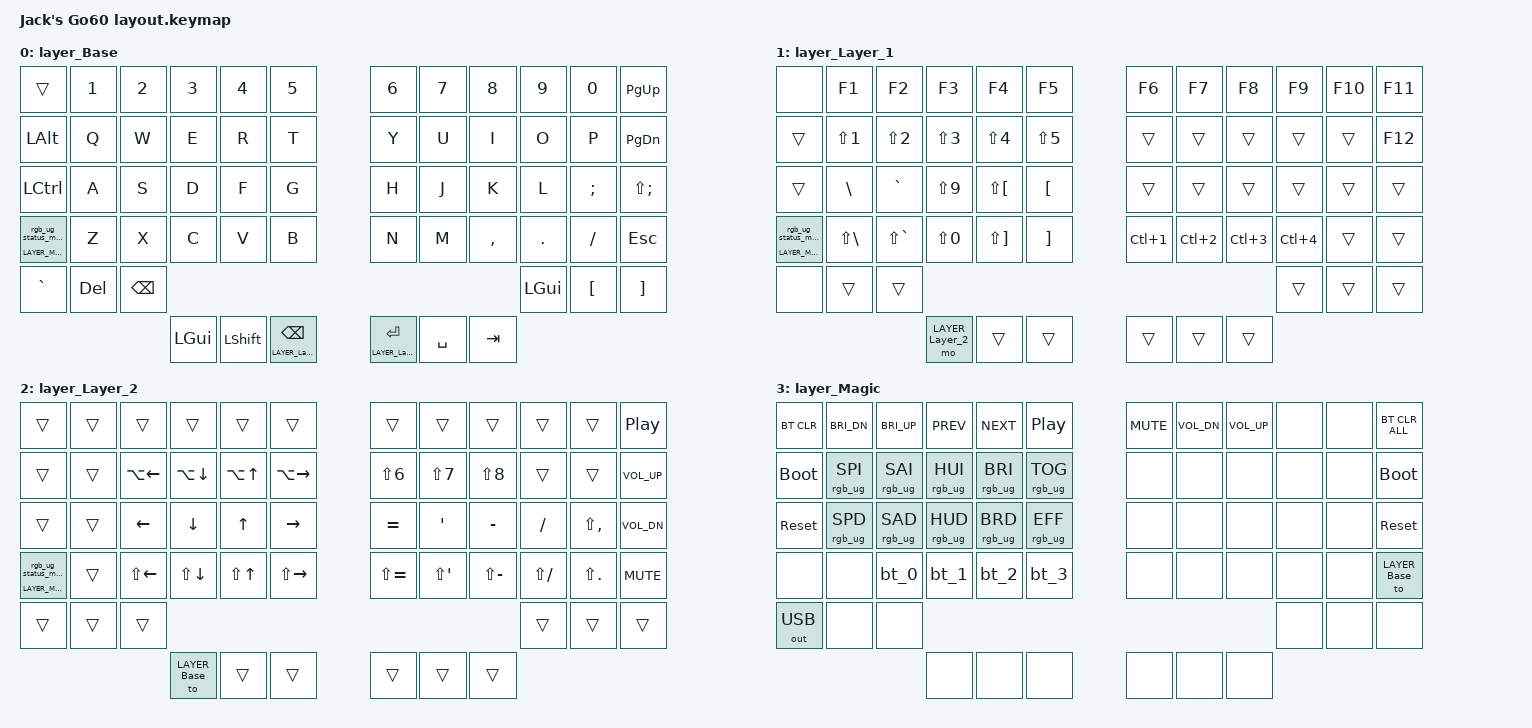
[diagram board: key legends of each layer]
/*
 * Copyright (c) 2020 The ZMK Contributors
 * Copyright (c) 2025 Innaworks Development Limited, trading as MoErgo
 *
 * SPDX-License-Identifier: MIT
 */


/* THIS FILE WAS GENERATED BY GO60 LAYOUT EDITOR
 *
 * This file was generated automatically. You may or may not want to
 * edit it directly.
 */

#include <behaviors.dtsi>

/* Include all behavior includes needed */

#include <dt-bindings/zmk/outputs.h>
#include <dt-bindings/zmk/keys.h>
#include <dt-bindings/zmk/bt.h>
#include <dt-bindings/zmk/rgb.h>

#include <input/processors.dtsi>
#include <dt-bindings/zmk/input_transform.h>
#include <zephyr/dt-bindings/input/input-event-codes.h>

/* On demand includes */
#include <dt-bindings/zmk/input_transform.h>
#include <dt-bindings/zmk/pointing.h>
#include <input/processors.dtsi>

/* Helper Macros, based on https://github.com/urob/zmk-helpers/ */

#pragma once

#define ZMK_HELPER_STRINGIFY(x) #x

// Preprocessor mechanism to overload macros, cf. https://stackoverflow.com/a/27051616/6114651
#define VARGS_(_10, _9, _8, _7, _6, _5, _4, _3, _2, _1, N, ...) N
#define VARGS(...) VARGS_(__VA_ARGS__, 10, 9, 8, 7, 6, 5, 4, 3, 2, 1, 0)
#define CONCAT_(a, b) a##b
#define CONCAT(a, b) CONCAT_(a, b)

#define ZMK_BEHAVIOR_CORE_tap_dance  \
    compatible = "zmk,behavior-tap-dance"; \
    #binding-cells = <0>

#define ZMK_BEHAVIOR(name, type, ...) \
    name: name { \
        ZMK_BEHAVIOR_CORE_ ## type; \
        __VA_ARGS__ \
    };

#define ZMK_TAP_DANCE(name, ...) \
    ZMK_BEHAVIOR(name, tap_dance, __VA_ARGS__)

#define ZMK_TD_LAYER(name, layer) \
    ZMK_TAP_DANCE(name, \
        tapping-term-ms = <200>; \
        bindings = <&mo layer>, <&to layer>; \
)





/* Key positions */

#define POS_LH_C6R1 0
#define POS_LH_C5R1 1
#define POS_LH_C4R1 2
#define POS_LH_C3R1 3
#define POS_LH_C2R1 4
#define POS_LH_C1R1 5
#define POS_RH_C1R1 6
#define POS_RH_C2R1 7
#define POS_RH_C3R1 8
#define POS_RH_C4R1 9
#define POS_RH_C5R1 10
#define POS_RH_C6R1 11
#define POS_LH_C6R2 12
#define POS_LH_C5R2 13
#define POS_LH_C4R2 14
#define POS_LH_C3R2 15
#define POS_LH_C2R2 16
#define POS_LH_C1R2 17
#define POS_RH_C1R2 18
#define POS_RH_C2R2 19
#define POS_RH_C3R2 20
#define POS_RH_C4R2 21
#define POS_RH_C5R2 22
#define POS_RH_C6R2 23
#define POS_LH_C6R3 24
#define POS_LH_C5R3 25
#define POS_LH_C4R3 26
#define POS_LH_C3R3 27
#define POS_LH_C2R3 28
#define POS_LH_C1R3 29
#define POS_RH_C1R3 30
#define POS_RH_C2R3 31
#define POS_RH_C3R3 32
#define POS_RH_C4R3 33
#define POS_RH_C5R3 34
#define POS_RH_C6R3 35
#define POS_LH_C6R4 36
#define POS_LH_C5R4 37
#define POS_LH_C4R4 38
#define POS_LH_C3R4 39
#define POS_LH_C2R4 40
#define POS_LH_C1R4 41
#define POS_RH_C1R4 42
#define POS_RH_C2R4 43
#define POS_RH_C3R4 44
#define POS_RH_C4R4 45
#define POS_RH_C5R4 46
#define POS_RH_C6R4 47
#define POS_LH_C4R5 48
#define POS_LH_C3R5 49
#define POS_LH_C2R5 50
#define POS_RH_C2R5 51
#define POS_RH_C3R5 52
#define POS_RH_C4R5 53
#define POS_LH_T1 54
#define POS_LH_T2 55
#define POS_LH_T3 56
#define POS_RH_T3 57
#define POS_RH_T2 58
#define POS_RH_T1 59


#define LEFT_HAND_KEYS \
  POS_LH_C1R1 POS_LH_C2R1 POS_LH_C3R1 POS_LH_C4R1 POS_LH_C5R1 POS_LH_C6R1 \
  POS_LH_C1R2 POS_LH_C2R2 POS_LH_C3R2 POS_LH_C4R2 POS_LH_C5R2 POS_LH_C6R2 \
  POS_LH_C1R3 POS_LH_C2R3 POS_LH_C3R3 POS_LH_C4R3 POS_LH_C5R3 POS_LH_C6R3 \
  POS_LH_C1R4 POS_LH_C2R4 POS_LH_C3R4 POS_LH_C4R4 POS_LH_C5R4 POS_LH_C6R4 \
              POS_LH_C2R5 POS_LH_C3R5 POS_LH_C4R5

#define RIGHT_HAND_KEYS \
  POS_RH_C1R1 POS_RH_C2R1 POS_RH_C3R1 POS_RH_C4R1 POS_RH_C5R1 POS_RH_C6R1 \
  POS_RH_C1R2 POS_RH_C2R2 POS_RH_C3R2 POS_RH_C4R2 POS_RH_C5R2 POS_RH_C6R2 \
  POS_RH_C1R3 POS_RH_C2R3 POS_RH_C3R3 POS_RH_C4R3 POS_RH_C5R3 POS_RH_C6R3 \
  POS_RH_C1R4 POS_RH_C2R4 POS_RH_C3R4 POS_RH_C4R4 POS_RH_C5R4 POS_RH_C6R4 \
              POS_RH_C2R5 POS_RH_C3R5 POS_RH_C4R5

#define THUMB_KEYS \
  POS_LH_T1 POS_LH_T2 POS_LH_T3 \
  POS_RH_T1 POS_RH_T2 POS_RH_T3

/* Environment and metadata defines */
#define KB_TYPE_GLOVE_80 1
#define KB_TYPE_GO_60    2

#define KB_TYPE          KB_TYPE_GO_60
#define EDITOR_HOST_OS   'L'

/* Automatically generated layer name defines */
#define LAYER_Base 0
#define LAYER_Layer_1 1
#define LAYER_Layer_2 2
#define LAYER_Magic 3

/* To deal with the situation where there is no Lower layer, to keep &lower happy */
#ifndef LAYER_Lower
#define LAYER_Lower 0
#endif

/* Generated input processors */
/ {
    input_processors {
        zip_click_to_right_click_mapper: zip_click_to_right_click_mapper {
            compatible = "zmk,input-processor-code-mapper";
            #input-processor-cells = <0>;
            type = <INPUT_EV_KEY>;
            map = <INPUT_BTN_0 INPUT_BTN_1>;
        };
    };
};

/* Custom Device-tree */


/* Input Listeners */
&cirque_rh_listener {
    input-processors = <&zip_xy_scaler 3 1>;
    layer_Layer_2 {
        layers = <LAYER_Layer_2>;
        input-processors = <&zip_xy_scaler 9 1>;
    };
};

&cirque_lh_listener {
    input-processors = <&zip_xy_scaler 11 12>, <&zip_xy_transform INPUT_TRANSFORM_Y_INVERT>, <&zip_xy_to_scroll_mapper>, <&zip_click_to_right_click_mapper>;
};

/* System behavior and macros */
/ {
    behaviors {
        ZMK_TD_LAYER(lower, LAYER_Lower)
    };
};

/ {
    macros {
        rgb_ug_status_macro: rgb_ug_status_macro {
            label = "RGB_UG_STATUS";
            compatible = "zmk,behavior-macro";
            #binding-cells = <0>;
            bindings
                = <&rgb_ug RGB_STATUS>;
        };
    };
};

/ {
#ifdef BT_DISC_CMD
    behaviors {
        bt_0: bt_0 {
            compatible = "zmk,behavior-tap-dance";
            label = "BT_0";
            #binding-cells = <0>;
            tapping-term-ms = <200>;
            bindings = <&bt_select_0>, <&bt BT_DISC 0>;
        };
        bt_1: bt_1 {
            compatible = "zmk,behavior-tap-dance";
            label = "BT_1";
            #binding-cells = <0>;
            tapping-term-ms = <200>;
            bindings = <&bt_select_1>, <&bt BT_DISC 1>;
        };
        bt_2: bt_2 {
            compatible = "zmk,behavior-tap-dance";
            label = "BT_2";
            #binding-cells = <0>;
            tapping-term-ms = <200>;
            bindings = <&bt_select_2>, <&bt BT_DISC 2>;
        };
        bt_3: bt_3 {
            compatible = "zmk,behavior-tap-dance";
            label = "BT_3";
            #binding-cells = <0>;
            tapping-term-ms = <200>;
            bindings = <&bt_select_3>, <&bt BT_DISC 3>;
        };
    };
    macros {
        bt_select_0: bt_select_0 {
            label = "BT_SELECT_0";
            compatible = "zmk,behavior-macro";
            #binding-cells = <0>;
            bindings
                = <&out OUT_BLE>,
                  <&bt BT_SEL 0>;
        };
        bt_select_1: bt_select_1 {
            label = "BT_SELECT_1";
            compatible = "zmk,behavior-macro";
            #binding-cells = <0>;
            bindings
                = <&out OUT_BLE>,
                  <&bt BT_SEL 1>;
        };
        bt_select_2: bt_select_2 {
            label = "BT_SELECT_2";
            compatible = "zmk,behavior-macro";
            #binding-cells = <0>;
            bindings
                = <&out OUT_BLE>,
                  <&bt BT_SEL 2>;
        };
        bt_select_3: bt_select_3 {
            label = "BT_SELECT_3";
            compatible = "zmk,behavior-macro";
            #binding-cells = <0>;
            bindings
                = <&out OUT_BLE>,
                  <&bt BT_SEL 3>;
        };
    };
#else
    macros {
        bt_0: bt_0 {
            label = "BT_0";
            compatible = "zmk,behavior-macro";
            #binding-cells = <0>;
            bindings
                = <&out OUT_BLE>,
                  <&bt BT_SEL 0>;
        };
        bt_1: bt_1 {
            label = "BT_1";
            compatible = "zmk,behavior-macro";
            #binding-cells = <0>;
            bindings
                = <&out OUT_BLE>,
                  <&bt BT_SEL 1>;
        };
        bt_2: bt_2 {
            label = "BT_2";
            compatible = "zmk,behavior-macro";
            #binding-cells = <0>;
            bindings
                = <&out OUT_BLE>,
                  <&bt BT_SEL 2>;
        };
        bt_3: bt_3 {
            label = "BT_3";
            compatible = "zmk,behavior-macro";
            #binding-cells = <0>;
            bindings
                = <&out OUT_BLE>,
                  <&bt BT_SEL 3>;
        };
    };
#endif
};

/ {
    behaviors {
        magic: magic {
            compatible = "zmk,behavior-hold-tap";
            label = "MAGIC_HOLD_TAP";
            #binding-cells = <2>;
            flavor = "tap-preferred";
            tapping-term-ms = <200>;
            bindings = <&mo>, <&rgb_ug_status_macro>;
        };
    };
};


/* Custom Defined Behaviors */
/ {

};

/* Automatically generated macro definitions */
/ {
    macros {

    };
};

/* Automatically generated behavior definitions */
/ {
    behaviors {


    };
};

/* Automatically generated combos definitions */


/* Automatically generated keymap */
/ {
    keymap {
        compatible = "zmk,keymap";


        layer_Base {
            bindings = <
               &trans  &kp N1     &kp N2   &kp N3    &kp N4  &kp N5                                                                                          &kp N6    &kp N7     &kp N8    &kp N9    &kp N0     &kp PG_UP
             &kp LALT   &kp Q      &kp W    &kp E     &kp R   &kp T                                                                                           &kp Y     &kp U      &kp I     &kp O     &kp P     &kp PG_DN
            &kp LCTRL   &kp A      &kp S    &kp D     &kp F   &kp G                                                                                           &kp H     &kp J      &kp K     &kp L  &kp SEMI  &kp LS(SEMI)
 &magic LAYER_Magic 0   &kp Z      &kp X    &kp C     &kp V   &kp B                                                                                           &kp N     &kp M  &kp COMMA   &kp DOT  &kp FSLH       &kp ESC
                               &kp GRAVE  &kp DEL  &kp BSPC                                                                                                          &kp LGUI   &kp LBKT  &kp RBKT
                                                                     &kp LGUI  &kp LSHFT  &lt LAYER_Layer_2 BSPC  &lt LAYER_Layer_1 RET  &kp SPACE  &kp TAB
            >;
        };

        layer_Layer_1 {
            bindings = <
                &none        &kp F1         &kp F2      &kp F3        &kp F4      &kp F5                                                                 &kp F6      &kp F7      &kp F8      &kp F9  &kp F10  &kp F11
               &trans    &kp LS(N1)     &kp LS(N2)  &kp LS(N3)    &kp LS(N4)  &kp LS(N5)                                                                 &trans      &trans      &trans      &trans   &trans  &kp F12
               &trans      &kp BSLH      &kp GRAVE  &kp LS(N9)  &kp LS(LBKT)    &kp LBKT                                                                 &trans      &trans      &trans      &trans   &trans   &trans
 &magic LAYER_Magic 0  &kp LS(BSLH)  &kp LS(GRAVE)  &kp LS(N0)  &kp LS(RBKT)    &kp RBKT                                                             &kp LC(N1)  &kp LC(N2)  &kp LC(N3)  &kp LC(N4)   &trans   &trans
                                             &none      &trans        &trans                                                                                         &trans      &trans      &trans
                                                                                          &mo LAYER_Layer_2  &trans  &trans  &trans  &trans  &trans
            >;
        };

        layer_Layer_2 {
            bindings = <
               &trans  &trans        &trans        &trans      &trans         &trans                                                                 &trans       &trans         &trans        &trans         &trans      &kp C_PP
               &trans  &trans  &kp LA(LEFT)  &kp LA(DOWN)  &kp LA(UP)  &kp LA(RIGHT)                                                             &kp LS(N6)   &kp LS(N7)     &kp LS(N8)        &trans         &trans  &kp C_VOL_UP
               &trans  &trans      &kp LEFT      &kp DOWN      &kp UP      &kp RIGHT                                                              &kp EQUAL      &kp SQT      &kp MINUS      &kp FSLH  &kp LS(COMMA)  &kp C_VOL_DN
 &magic LAYER_Magic 0  &trans  &kp LS(LEFT)  &kp LS(DOWN)  &kp LS(UP)  &kp LS(RIGHT)                                                          &kp LS(EQUAL)  &kp LS(SQT)  &kp LS(MINUS)  &kp LS(FSLH)    &kp LS(DOT)    &kp C_MUTE
                                     &trans        &trans      &trans                                                                                             &trans         &trans        &trans
                                                                                      &to LAYER_Base  &trans  &trans  &trans  &trans  &trans
            >;
        };

        layer_Magic {
            bindings = <
  &bt BT_CLR     &kp C_BRI_DN     &kp C_BRI_UP       &kp C_PREV       &kp C_NEXT         &kp C_PP                                                  &kp C_MUTE  &kp C_VOL_DN  &kp C_VOL_UP   &none   &none  &bt BT_CLR_ALL
 &bootloader  &rgb_ug RGB_SPI  &rgb_ug RGB_SAI  &rgb_ug RGB_HUI  &rgb_ug RGB_BRI  &rgb_ug RGB_TOG                                                       &none         &none         &none   &none   &none     &bootloader
  &sys_reset  &rgb_ug RGB_SPD  &rgb_ug RGB_SAD  &rgb_ug RGB_HUD  &rgb_ug RGB_BRD  &rgb_ug RGB_EFF                                                       &none         &none         &none   &none   &none      &sys_reset
       &none            &none            &bt_0            &bt_1            &bt_2            &bt_3                                                       &none         &none         &none   &none   &none  &to LAYER_Base
                                  &out OUT_USB            &none            &none                                                                                      &none         &none   &none
                                                                                                    &none   &none   &none   &none   &none   &none
            >;
        };

    };
};
